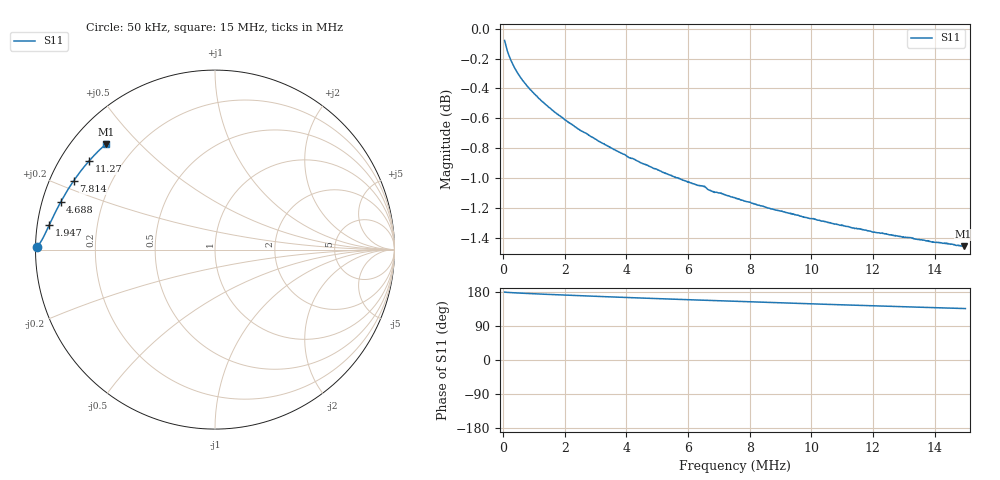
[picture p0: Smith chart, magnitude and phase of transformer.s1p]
# HZ S RI R 50
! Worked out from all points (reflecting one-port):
!   1010 points, 50 kHz to 15 MHz, reference 50 ohm
!   lowest |S11| = -1.5 dB at 14.94 MHz (marker M1), VSWR 11.95, Z = 4.87 + j20.1 ohm
!   phase of S11 starts at 179 deg and turns -43 deg over the sweep
!   S11 on the Smith chart (normalised r, x): 50 kHz: 0.00, +0.01; 1.947 MHz: 0.03, +0.07; 4.688 MHz: 0.05, +0.15; 7.814 MHz: 0.07, +0.23; 11.27 MHz: 0.08, +0.31; 15 MHz: 0.10, +0.40
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50000  -0.9909 0.0141
183300  -0.9796 0.0302
301800  -0.9729 0.0403
450000  -0.9658 0.0511
627800  -0.959 0.0635
850100  -0.9517 0.0775
1250100  -0.9404 0.1011
1931717  -0.9235 0.1377
1946517  -0.9229 0.1385
2628117  -0.9069 0.1724
2909617  -0.9006 0.1858
3798634  -0.8803 0.226
4687651  -0.8605 0.2641
5665551  -0.8381 0.3035
6480568  -0.8204 0.3339
6776868  -0.8112 0.3467
7117668  -0.8043 0.3581
7532585  -0.7943 0.3729
7814085  -0.7875 0.3827
8569685  -0.7692 0.4085
9399502  -0.7491 0.4357
1.03329e7  -0.7259 0.4649
1.126642e7  -0.7024 0.4927
1.187392e7  -0.6868 0.5102
1.313334e7  -0.6543 0.5444
1.422985e7  -0.6257 0.5719
1.494105e7  -0.6069 0.5887
1.500035e7  -0.6056 0.5904
